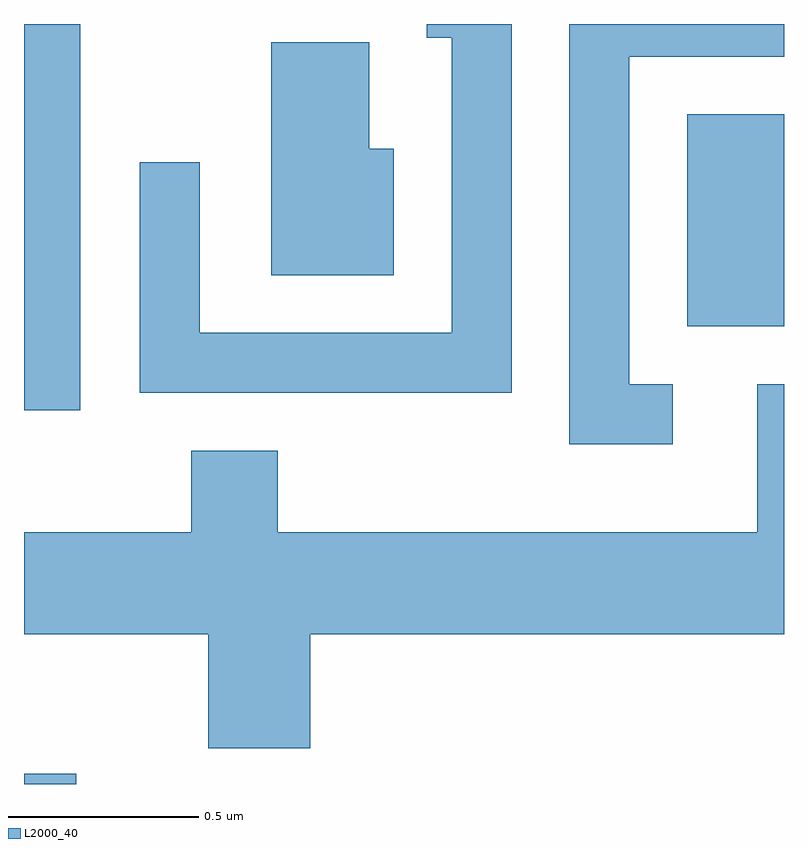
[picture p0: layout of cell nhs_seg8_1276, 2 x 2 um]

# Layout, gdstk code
import gdstk
lib = gdstk.Library(unit=1e-6, precision=1e-09)
def R(c, l, rs):  # rectangles x0, y0, x1, y1
    for r in rs: c.add(gdstk.rectangle(r[:2], r[2:], *l))
def P(c, l, *ps):  # polygons
    for p in ps: c.add(gdstk.Polygon(p, *l))
L2000_40 = (2000, 40)

nhs_seg8_1276 = lib.new_cell('nhs_seg8_1276')
R(nhs_seg8_1276, L2000_40, [(194.611,1849.342,194.749,1849.369), (194.611,1850.326,194.759,1851.342), (196.356,1850.546,196.611,1851.104)])
P(nhs_seg8_1276, L2000_40, [(195.894,1851.342),(195.671,1851.342),(195.671,1851.306),(195.736,1851.306),(195.736,1850.529),(195.074,1850.529),(195.074,1850.978),(194.916,1850.978),(194.916,1850.371),(195.894,1850.371)],
  [(196.318,1850.394),(196.204,1850.394),(196.204,1851.256),(196.611,1851.256),(196.611,1851.342),(196.046,1851.342),(196.046,1850.236),(196.318,1850.236)],
  [(195.584,1851.014),(195.519,1851.014),(195.519,1851.294),(195.261,1851.294),(195.261,1850.681),(195.584,1850.681)],
  [(195.364,1849.736),(196.611,1849.736),(196.611,1850.394),(196.541,1850.394),(196.541,1850.004),(195.279,1850.004),(195.279,1850.219),(195.051,1850.219),(195.051,1850.004),(194.611,1850.004),(194.611,1849.736),(195.096,1849.736),(195.096,1849.436),(195.364,1849.436)])

lib.write_gds('nhs_seg8_1276.gds')
